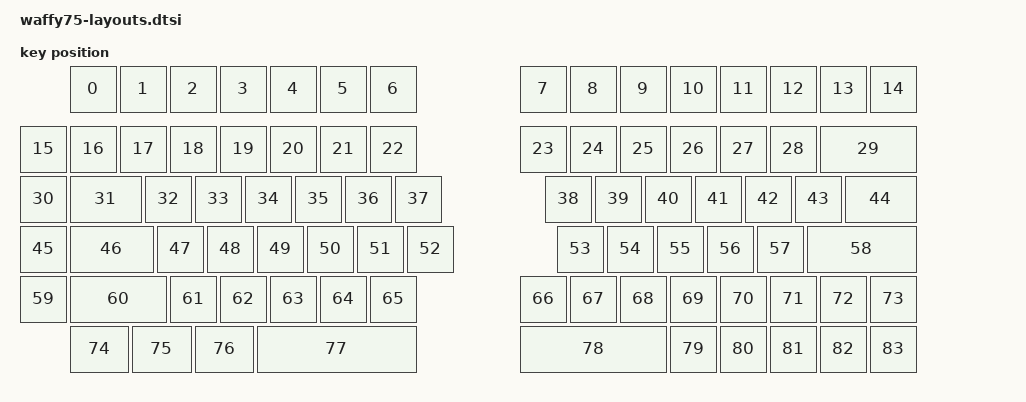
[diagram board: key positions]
#include <physical_layouts.dtsi>

/ {
    physical_layout0: physical_layout_0 {
        compatible = "zmk,physical-layout";
        display-name = "Default Layout";
        transform = <&default_transform>;
        kscan = <&kscan0>;
        keys  //                     w   h    x    y     rot    rx    ry
            = <&key_physical_attrs 100 100  100    0       0     0     0>
            , <&key_physical_attrs 100 100  200    0       0     0     0>
            , <&key_physical_attrs 100 100  300    0       0     0     0>
            , <&key_physical_attrs 100 100  400    0       0     0     0>
            , <&key_physical_attrs 100 100  500    0       0     0     0>
            , <&key_physical_attrs 100 100  600    0       0     0     0>
            , <&key_physical_attrs 100 100  700    0       0     0     0>
            , <&key_physical_attrs 100 100 1000    0       0     0     0>
            , <&key_physical_attrs 100 100 1100    0       0     0     0>
            , <&key_physical_attrs 100 100 1200    0       0     0     0>
            , <&key_physical_attrs 100 100 1300    0       0     0     0>
            , <&key_physical_attrs 100 100 1400    0       0     0     0>
            , <&key_physical_attrs 100 100 1500    0       0     0     0>
            , <&key_physical_attrs 100 100 1600    0       0     0     0>
            , <&key_physical_attrs 100 100 1700    0       0     0     0>
            , <&key_physical_attrs 100 100    0  120       0     0     0>
            , <&key_physical_attrs 100 100  100  120       0     0     0>
            , <&key_physical_attrs 100 100  200  120       0     0     0>
            , <&key_physical_attrs 100 100  300  120       0     0     0>
            , <&key_physical_attrs 100 100  400  120       0     0     0>
            , <&key_physical_attrs 100 100  500  120       0     0     0>
            , <&key_physical_attrs 100 100  600  120       0     0     0>
            , <&key_physical_attrs 100 100  700  120       0     0     0>
            , <&key_physical_attrs 100 100 1000  120       0     0     0>
            , <&key_physical_attrs 100 100 1100  120       0     0     0>
            , <&key_physical_attrs 100 100 1200  120       0     0     0>
            , <&key_physical_attrs 100 100 1300  120       0     0     0>
            , <&key_physical_attrs 100 100 1400  120       0     0     0>
            , <&key_physical_attrs 100 100 1500  120       0     0     0>
            , <&key_physical_attrs 200 100 1600  120       0     0     0>
            , <&key_physical_attrs 100 100    0  220       0     0     0>
            , <&key_physical_attrs 150 100  100  220       0     0     0>
            , <&key_physical_attrs 100 100  250  220       0     0     0>
            , <&key_physical_attrs 100 100  350  220       0     0     0>
            , <&key_physical_attrs 100 100  450  220       0     0     0>
            , <&key_physical_attrs 100 100  550  220       0     0     0>
            , <&key_physical_attrs 100 100  650  220       0     0     0>
            , <&key_physical_attrs 100 100  750  220       0     0     0>
            , <&key_physical_attrs 100 100 1050  220       0     0     0>
            , <&key_physical_attrs 100 100 1150  220       0     0     0>
            , <&key_physical_attrs 100 100 1250  220       0     0     0>
            , <&key_physical_attrs 100 100 1350  220       0     0     0>
            , <&key_physical_attrs 100 100 1450  220       0     0     0>
            , <&key_physical_attrs 100 100 1550  220       0     0     0>
            , <&key_physical_attrs 150 100 1650  220       0     0     0>
            , <&key_physical_attrs 100 100    0  320       0     0     0>
            , <&key_physical_attrs 175 100  100  320       0     0     0>
            , <&key_physical_attrs 100 100  275  320       0     0     0>
            , <&key_physical_attrs 100 100  375  320       0     0     0>
            , <&key_physical_attrs 100 100  475  320       0     0     0>
            , <&key_physical_attrs 100 100  575  320       0     0     0>
            , <&key_physical_attrs 100 100  675  320       0     0     0>
            , <&key_physical_attrs 100 100  775  320       0     0     0>
            , <&key_physical_attrs 100 100 1075  320       0     0     0>
            , <&key_physical_attrs 100 100 1175  320       0     0     0>
            , <&key_physical_attrs 100 100 1275  320       0     0     0>
            , <&key_physical_attrs 100 100 1375  320       0     0     0>
            , <&key_physical_attrs 100 100 1475  320       0     0     0>
            , <&key_physical_attrs 225 100 1575  320       0     0     0>
            , <&key_physical_attrs 100 100    0  420       0     0     0>
            , <&key_physical_attrs 200 100  100  420       0     0     0>
            , <&key_physical_attrs 100 100  300  420       0     0     0>
            , <&key_physical_attrs 100 100  400  420       0     0     0>
            , <&key_physical_attrs 100 100  500  420       0     0     0>
            , <&key_physical_attrs 100 100  600  420       0     0     0>
            , <&key_physical_attrs 100 100  700  420       0     0     0>
            , <&key_physical_attrs 100 100 1000  420       0     0     0>
            , <&key_physical_attrs 100 100 1100  420       0     0     0>
            , <&key_physical_attrs 100 100 1200  420       0     0     0>
            , <&key_physical_attrs 100 100 1300  420       0     0     0>
            , <&key_physical_attrs 100 100 1400  420       0     0     0>
            , <&key_physical_attrs 100 100 1500  420       0     0     0>
            , <&key_physical_attrs 100 100 1600  420       0     0     0>
            , <&key_physical_attrs 100 100 1700  420       0     0     0>
            , <&key_physical_attrs 125 100  100  520       0     0     0>
            , <&key_physical_attrs 125 100  225  520       0     0     0>
            , <&key_physical_attrs 125 100  350  520       0     0     0>
            , <&key_physical_attrs 325 100  475  520       0     0     0>
            , <&key_physical_attrs 300 100 1000  520       0     0     0>
            , <&key_physical_attrs 100 100 1300  520       0     0     0>
            , <&key_physical_attrs 100 100 1400  520       0     0     0>
            , <&key_physical_attrs 100 100 1500  520       0     0     0>
            , <&key_physical_attrs 100 100 1600  520       0     0     0>
            , <&key_physical_attrs 100 100 1700  520       0     0     0>
            ;
    };

    keypad_position_map {
        compatible = "zmk,physical-layout-position-map";
        complete; 

        default_map: default_map {
            physical-layout = <&physical_layout0>;
            positions
                = <     0  1  2  3  4  5  6     7  8  9 10 11 12 13 14 >
                , < 15 16 17 18 19 20 21 22    23 24 25 26 27 28 29    >
                , < 30 31    32 33 34 35 36    37 38 39 40 41 42 43 44 >
                , < 45 46    47 48 49 50 51    52 53 54 55 56 57 58    >
                , < 59 60    61 62 63 64 65    66 67 68 69 70 71 72 73 >
                , <    74 75 76       77          78    79 80 81 82 83 >;
        };
    };
};


